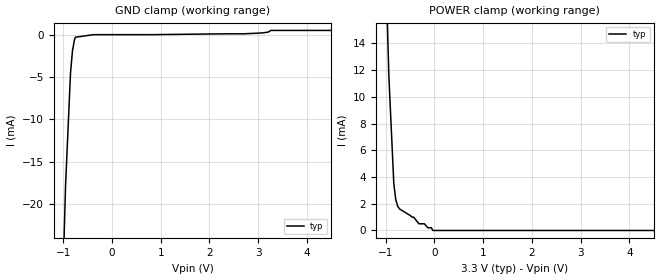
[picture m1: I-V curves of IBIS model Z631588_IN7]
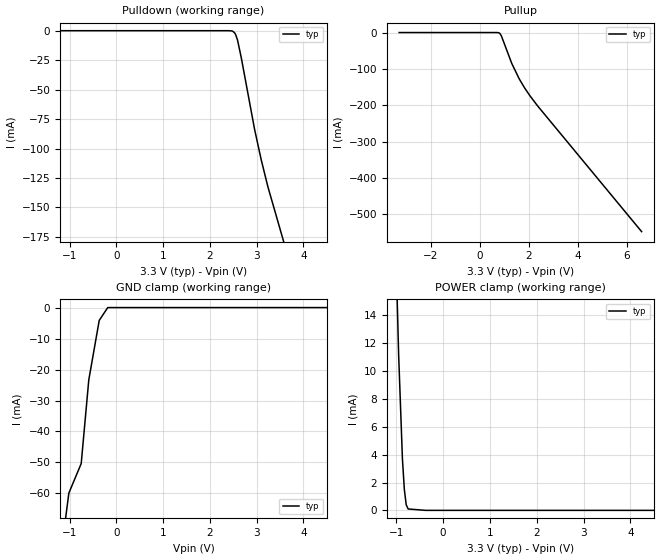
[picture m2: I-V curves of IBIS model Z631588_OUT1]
| YOU ARE ONLY AUTHORIZED TO USE THIS SOFTWARE
| ACCORDING TO LICENSOR'S LICENSE RESTRICTIONS.
[IBIS Ver] 3.1
[File Name] mc10ep89d_33.ibs
[File Rev] 2.0
[Source] Measured and created by ICX Technology
[Date] Wednesday 11/22/00 2:13:51 PM
[Copyright]
| (C) COPYRIGHT 1993-2000
| MENTOR GRAPHICS CORPORATION
| ICX STANDARD LIBRARY, ICX PROJECT MODELING,
| ICX CUSTOM MODELING, ICX VENDOR MODEL
| ALL RIGHTS RESERVED.
| THE FOLLOWING ARE TRADEMARKS OR SERVICE MARKS OF
| MENTOR GRAPHICS CORPORATION:ICX (R), ICX STANDARD
| LIBRARY(R), ICX PROJECT MODELING(R), ICX CUSTOM
| MODELING(R), qualityIBIS(TM), MODELVIEWER(TM),
| AND MODELEDITOR(TM)
| ALL COPIES OF SOFTWARE, INCLUDING BUT NOT LIMITED TO
| ANY MODIFICATIONS, ENHANCEMENTS OR DERIVATIVE WORKS,
| MUST CONTAIN ALL MENTOR GRAPHICS CORPORATION'S
| NOTICES AND LEGENDS, INCLUDING THOSE EMBEDDED IN
| SOFTWARE AND THOSE AFFIXED TO SOFTWARE MEDIUM
| AND CONTAINER, AS RECEIVED FROM MENTOR GRAPHICS
| CORPORATION.
|  ZAP Model Builder 2.8
[Component] MC10EP89D_33
[Manufacturer] OnSemiconductor
[Package]
| variable   typ   min   max
R_pkg  .152ohms NA NA
L_pkg  2.714nH NA NA
C_pkg  .364pF NA NA
[Pin] signal_name  model_name  R_pin  L_pin C_pin
1 Q0 Z631588_OUT1 .154 2.924n .374p
2 _Q0 Z631588_OUT1 .15 2.504n .354p
3 Q1 Z631588_OUT1 .15 2.504n .354p
4 _Q1 Z631588_OUT1 .154 2.924n .374p
5 VEE POWER .154 2.924n .374p
6 _D Z631588_IN7 .15 2.504n .354p
7 D Z631588_IN7 .15 2.504n .354p
8 VCC POWER .154 2.924n .374p
[Diff Pin] inv_pin vdiff tdelay_typ tdelay_min tdelay_max
1 2 NA .005ns NA .02ns
3 4 NA .005ns NA .02ns
7 6 800mV NA NA NA
| Models and submodels in the file (2): Z631588_IN7 (Input_ECL), Z631588_OUT1 (Output_ECL)
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| (C) COPYRIGHT 1993-2000
| MENTOR GRAPHICS CORPORATION
| ICX STANDARD LIBRARY, ICX PROJECT MODELING,
| ICX CUSTOM MODELING, ICX VENDOR MODEL
| ALL RIGHTS RESERVED.
| THE FOLLOWING ARE TRADEMARKS OR SERVICE MARKS OF
| MENTOR GRAPHICS CORPORATION:ICX (R), ICX STANDARD
| LIBRARY(R), ICX PROJECT MODELING(R), ICX CUSTOM
| MODELING(R), qualityIBIS(TM), MODELVIEWER(TM),
| AND MODELEDITOR(TM)
| ALL COPIES OF SOFTWARE, INCLUDING BUT NOT LIMITED TO
| ANY MODIFICATIONS, ENHANCEMENTS OR DERIVATIVE WORKS,
| MUST CONTAIN ALL MENTOR GRAPHICS CORPORATION'S
| NOTICES AND LEGENDS, INCLUDING THOSE EMBEDDED IN
| SOFTWARE AND THOSE AFFIXED TO SOFTWARE MEDIUM
| AND CONTAINER, AS RECEIVED FROM MENTOR GRAPHICS
| CORPORATION.
| Model Application Version 1.89 2/18/99.
[Model] Z631588_IN7
Model_type Input_ECL
Vinl = 1.820V
Vinh = 2.170V
C_comp 3.000pF NA NA
| variable typ   min   max
[Voltage Range] 3.300V NA NA
[GND Clamp Reference] 0.000V NA NA
[POWER Clamp Reference] 3.300V NA NA
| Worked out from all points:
|   GND clamp passes 1 mA (typ) near -0.78 V on its own axis
|   POWER clamp passes 1 mA (typ) near -0.43 V on its own axis
[GND Clamp]
-3.3V     -626.2mA   NA         NA
-1.054V   -38.4mA    NA         NA
-953mV    -17.8mA    NA         NA
-851mV    -4.5mA     NA         NA
-811mV    -1.9mA     NA         NA
-770mV    -600uA     NA         NA
-750mV    -300uA     NA         NA
-375mV    0A         NA         NA
2.706V    100uA      NA         NA
3.081V    200uA      NA         NA
3.263V    500uA      NA         NA
6.6V      500uA      NA         NA
[POWER Clamp]
-3.3V     395.2mA    NA         NA
-1.058V   27.3mA     NA         NA
-936mV    11.5mA     NA         NA
-835mV    3.5mA      NA         NA
-795mV    2.3mA      NA         NA
-754mV    1.8mA      NA         NA
-713mV    1.6mA      NA         NA
-430mV    1mA        NA         NA
-318.5mV  500uA      NA         NA
-207mV    500uA      NA         NA
-32.5mV   0A         NA         NA
6.6V      0A         NA         NA
| (C) COPYRIGHT 1993-2000
| MENTOR GRAPHICS CORPORATION
| ICX STANDARD LIBRARY, ICX PROJECT MODELING,
| ICX CUSTOM MODELING, ICX VENDOR MODEL
| ALL RIGHTS RESERVED.
| THE FOLLOWING ARE TRADEMARKS OR SERVICE MARKS OF
| MENTOR GRAPHICS CORPORATION:ICX (R), ICX STANDARD
| LIBRARY(R), ICX PROJECT MODELING(R), ICX CUSTOM
| MODELING(R), qualityIBIS(TM), MODELVIEWER(TM),
| AND MODELEDITOR(TM)
| ALL COPIES OF SOFTWARE, INCLUDING BUT NOT LIMITED TO
| ANY MODIFICATIONS, ENHANCEMENTS OR DERIVATIVE WORKS,
| MUST CONTAIN ALL MENTOR GRAPHICS CORPORATION'S
| NOTICES AND LEGENDS, INCLUDING THOSE EMBEDDED IN
| SOFTWARE AND THOSE AFFIXED TO SOFTWARE MEDIUM
| AND CONTAINER, AS RECEIVED FROM MENTOR GRAPHICS
| CORPORATION.
| Model Application Version 1.89 2/18/99.
[Model] Z631588_OUT1
Model_type Output_ECL
Vref=300.0mV
Rref=50.00ohms
Cref=0.000F
Vmeas=1.490V
C_comp 8.000pF NA NA
| variable typ   min   max
[Voltage Range] 3.300V NA NA
[POWER Clamp Reference] 3.300V NA NA
[Pullup Reference] 3.300V NA NA
[Pulldown Reference] 3.300V NA NA
[GND Clamp Reference] 0.000V NA NA
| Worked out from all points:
|   GND clamp passes 1 mA (typ) near -0.23 V on its own axis
|   POWER clamp passes 1 mA (typ) near -0.81 V on its own axis
[GND Clamp]
-3.3V     -326.9mA   NA         NA
-1.014V   -59.88mA   NA         NA
-750mV    -50.35mA   NA         NA
-588mV    -23.34mA   NA         NA
-365mV    -4.145mA   NA         NA
-182.5mV  0A         NA         NA
6.6V      0A         NA         NA
[Pulldown]
-3.3V     0A         NA         NA
2.408V    0A         NA         NA
2.469V    -200uA     NA         NA
2.489V    -500uA     NA         NA
2.53V     -1.9mA     NA         NA
2.55V     -3.3mA     NA         NA
2.591V    -8mA       NA         NA
2.672V    -23.2mA    NA         NA
2.955V    -83.7mA    NA         NA
3.097V    -109.6mA   NA         NA
3.239V    -132.4mA   NA         NA
6.6V      -596.7mA   NA         NA
[Pullup]
-3.3V     0A         NA         NA
690mV     0A         NA         NA
731mV     -200uA     NA         NA
771mV     -700uA     NA         NA
812mV     -2.5mA     NA         NA
873mV     -9.1mA     NA         NA
1.298V    -85mA      NA         NA
1.602V    -127.4mA   NA         NA
1.825V    -152.5mA   NA         NA
2.048V    -174.6mA   NA         NA
2.352V    -201.6mA   NA         NA
6.6V      -547.3mA   NA         NA
[POWER Clamp]
-3.3V     376.9mA    NA         NA
-1.053V   24mA       NA         NA
-952mV    11.2mA     NA         NA
-871mV    3.7mA      NA         NA
-830mV    1.5mA      NA         NA
-790mV    400uA      NA         NA
-749mV    100uA      NA         NA
-374.5mV  0A         NA         NA
6.6V      0A         NA         NA
[Ramp]
| variable typ min max
dV/dt_r 914.7m/132.7p NA NA
dV/dt_f 914.7m/121.3p NA NA
R_load = 50.00Ohms
